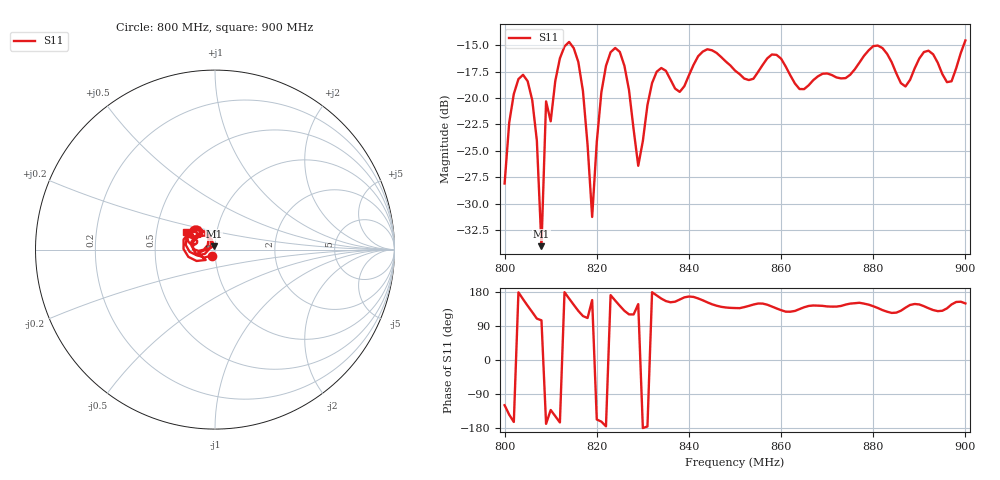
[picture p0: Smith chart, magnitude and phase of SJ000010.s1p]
!File created by NanoVNA-F V2
# Hz S RI R 50
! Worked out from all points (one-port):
!   101 points, 800 MHz to 900 MHz, reference 50 ohm
!   lowest |S11| = -34.0 dB at 808 MHz (marker M1), VSWR 1.04, Z = 49.5 + j1.91 ohm
!   |S11| at or under -10 dB: start of sweep to end of sweep
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8e8  -0.0193 -0.0344
8.02e8  -0.1002 -0.0297
8.05e8  -0.096 0.072
8.07e8  -0.0207 0.0594
8.08e8  -0.00506 0.0193
8.09e8  -0.0944 -0.0193
8.1e8  -0.0518 -0.0577
8.13e8  -0.1752 0.00317
8.16e8  -0.0942 0.1139
8.17e8  -0.0473 0.097
8.19e8  -0.0254 0.0102
8.21e8  -0.1016 -0.0318
8.23e8  -0.1625 0.0252
8.25e8  -0.1319 0.0993
8.27e8  -0.055 0.0939
8.29e8  -0.0403 0.0258
8.33e8  -0.1311 0.022
8.38e8  -0.1001 0.0373
8.44e8  -0.1502 0.0794
8.5e8  -0.0987 0.0917
8.59e8  -0.1153 0.1107
8.63e8  -0.0744 0.0904
8.75e8  -0.1101 0.0666
8.81e8  -0.1296 0.1203
8.88e8  -0.1002 0.0693
8.92e8  -0.1214 0.115
8.97e8  -0.1002 0.066
9e8  -0.1608 0.0954
